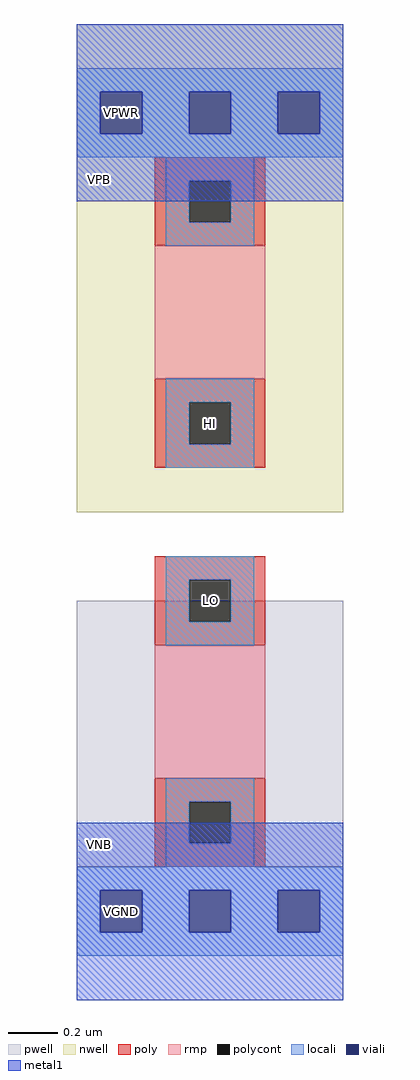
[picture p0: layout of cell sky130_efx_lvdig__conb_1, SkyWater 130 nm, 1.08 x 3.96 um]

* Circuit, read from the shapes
.subckt sky130_efx_lvdig__conb_1 LO HI VGND VPWR VPB VNB
R1 LO VGND sky130_fd_pr__res_generic_po w=0.45 l=0.54
R2 VPWR HI sky130_fd_pr__res_generic_po w=0.45 l=0.54
.ends

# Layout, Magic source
magic
tech sky130A
magscale 1 2
<< nwell >>
rect 0 288 216 684
<< pwell >>
rect 0 0 216 216
<< poly >>
rect 63 557 153 576
rect 63 523 91 557
rect 125 523 153 557
rect 63 504 153 523
rect 63 377 153 396
rect 63 343 91 377
rect 125 343 153 377
rect 63 324 153 343
rect 63 233 153 252
rect 63 199 91 233
rect 125 199 153 233
rect 63 180 153 199
rect 63 53 153 72
rect 63 19 91 53
rect 125 19 153 53
rect 63 0 153 19
<< polycont >>
rect 91 523 125 557
rect 91 343 125 377
rect 91 199 125 233
rect 91 19 125 53
<< rmp >>
rect 63 396 153 504
rect 63 72 153 180
<< locali >>
rect 0 629 216 648
rect 0 595 19 629
rect 53 595 91 629
rect 125 595 163 629
rect 197 595 216 629
rect 0 576 216 595
rect 72 557 144 576
rect 72 523 91 557
rect 125 523 144 557
rect 72 504 144 523
rect 72 377 144 396
rect 72 343 91 377
rect 125 343 144 377
rect 72 324 144 343
rect 72 233 144 252
rect 72 199 91 233
rect 125 199 144 233
rect 72 180 144 199
rect 72 53 144 72
rect 72 19 91 53
rect 125 19 144 53
rect 72 0 144 19
rect 0 -19 216 0
rect 0 -53 19 -19
rect 53 -53 91 -19
rect 125 -53 163 -19
rect 197 -53 216 -19
rect 0 -72 216 -53
<< viali >>
rect 19 595 53 629
rect 91 595 125 629
rect 163 595 197 629
rect 19 -53 53 -19
rect 91 -53 125 -19
rect 163 -53 197 -19
<< metal1 >>
rect 0 629 216 684
rect 0 595 19 629
rect 53 595 91 629
rect 125 595 163 629
rect 197 595 216 629
rect 0 540 216 595
rect 0 -19 216 36
rect 0 -53 19 -19
rect 53 -53 91 -19
rect 125 -53 163 -19
rect 197 -53 216 -19
rect 0 -108 216 -53
<< labels >>
flabel locali 72 180 144 252 0 FreeSans 288 0 0 0 LO
port 1 nsew signal output
flabel locali 72 324 144 396 0 FreeSans 288 0 0 0 HI
port 2 nsew signal output
flabel metal1 0 -72 72 0 0 FreeSans 288 0 0 0 VGND
port 3 nsew ground bidirectional
flabel metal1 0 576 72 648 0 FreeSans 288 0 0 0 VPWR
port 4 nsew power bidirectional
flabel nwell 0 540 36 576 0 FreeSans 288 0 0 0 VPB
port 5 nsew power bidirectional
flabel pwell 0 0 36 36 0 FreeSans 288 0 0 0 VNB
port 6 nsew ground bidirectional
<< properties >>
string FIXED_BBOX 0 -36 216 612
<< end >>
